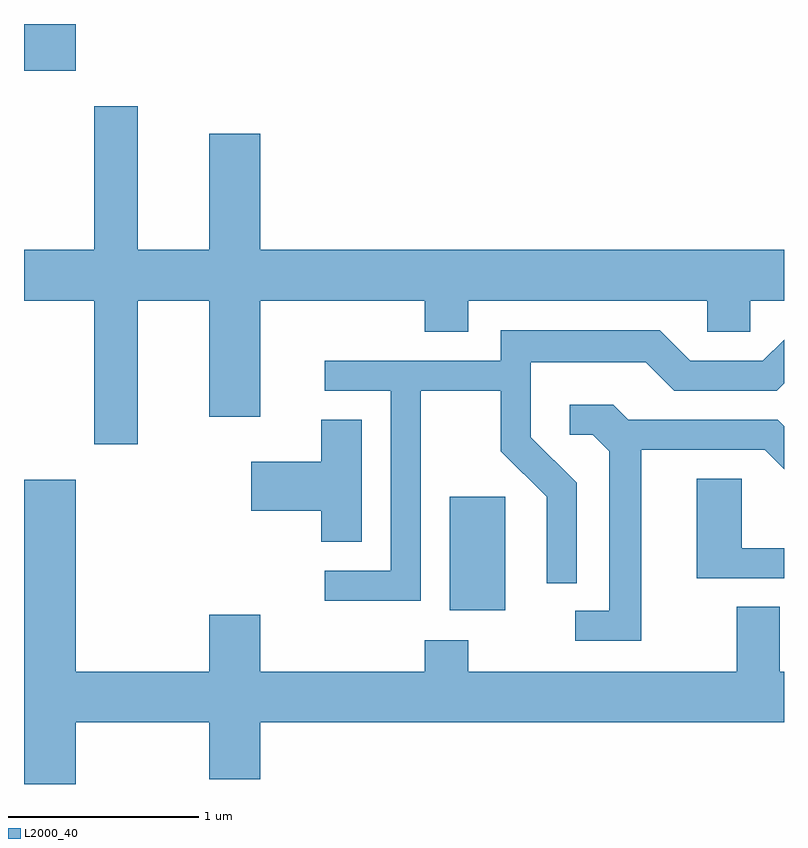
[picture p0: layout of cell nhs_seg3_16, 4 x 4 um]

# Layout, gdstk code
import gdstk
lib = gdstk.Library(unit=1e-6, precision=1e-09)
def R(c, l, rs):  # rectangles x0, y0, x1, y1
    for r in rs: c.add(gdstk.rectangle(r[:2], r[2:], *l))
def P(c, l, *ps):  # polygons
    for p in ps: c.add(gdstk.Polygon(p, *l))
L2000_40 = (2000, 40)

nhs_seg3_16 = lib.new_cell('nhs_seg3_16')
R(nhs_seg3_16, L2000_40, [(187.851,1148.806,188.144,1149.404), (185.611,1151.646,185.884,1151.892)])
P(nhs_seg3_16, L2000_40, [(186.209,1150.436),(186.586,1150.436),(186.586,1149.826),(186.854,1149.826),(186.854,1150.436),(187.721,1150.436),(187.721,1150.271),(187.949,1150.271),(187.949,1150.436),(189.206,1150.436),(189.206,1150.271),(189.434,1150.271),(189.434,1150.436),(189.611,1150.436),(189.611,1150.704),(186.854,1150.704),(186.854,1151.314),(186.586,1151.314),(186.586,1150.704),(186.209,1150.704),(186.209,1151.459),(185.981,1151.459),(185.981,1150.704),(185.611,1150.704),(185.611,1150.436),(185.981,1150.436),(185.981,1149.681),(186.209,1149.681)],
  [(187.699,1149.961),(188.121,1149.961),(188.121,1149.644),(188.361,1149.404),(188.361,1148.948),(188.519,1148.948),(188.519,1149.477),(188.279,1149.717),(188.279,1150.111),(188.884,1150.111),(189.034,1149.961),(189.572,1149.961),(189.611,1150),(189.611,1150.231),(189.499,1150.119),(189.117,1150.119),(188.957,1150.279),(188.121,1150.279),(188.121,1150.119),(187.193,1150.119),(187.193,1149.961),(187.541,1149.961),(187.541,1149.014),(187.193,1149.014),(187.193,1148.856),(187.699,1148.856)],
  [(188.859,1149.651),(189.509,1149.651),(189.611,1149.549),(189.611,1149.775),(189.577,1149.809),(188.792,1149.809),(188.712,1149.889),(188.483,1149.889),(188.483,1149.731),(188.604,1149.731),(188.691,1149.644),(188.691,1148.804),(188.513,1148.804),(188.513,1148.646),(188.859,1148.646)],
  [(187.389,1149.809),(187.176,1149.809),(187.176,1149.589),(186.806,1149.589),(186.806,1149.331),(187.176,1149.331),(187.176,1149.166),(187.389,1149.166)],
  [(189.611,1149.134),(189.389,1149.134),(189.389,1149.499),(189.151,1149.499),(189.151,1148.976),(189.611,1148.976)],
  [(185.884,1148.216),(186.586,1148.216),(186.586,1147.916),(186.854,1147.916),(186.854,1148.216),(189.611,1148.216),(189.611,1148.484),(189.589,1148.484),(189.589,1148.824),(189.361,1148.824),(189.361,1148.484),(187.949,1148.484),(187.949,1148.649),(187.721,1148.649),(187.721,1148.484),(186.854,1148.484),(186.854,1148.784),(186.586,1148.784),(186.586,1148.484),(185.884,1148.484),(185.884,1149.494),(185.611,1149.494),(185.611,1147.892),(185.884,1147.892)])

lib.write_gds('nhs_seg3_16.gds')
